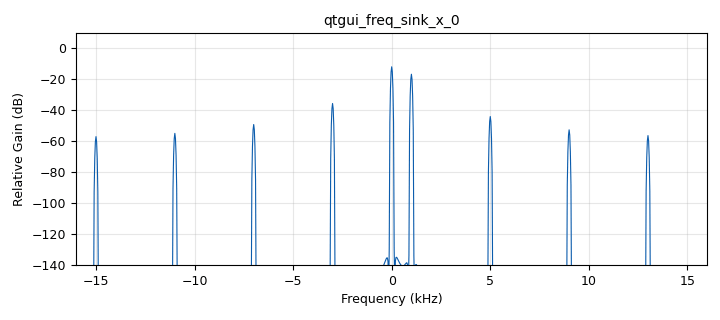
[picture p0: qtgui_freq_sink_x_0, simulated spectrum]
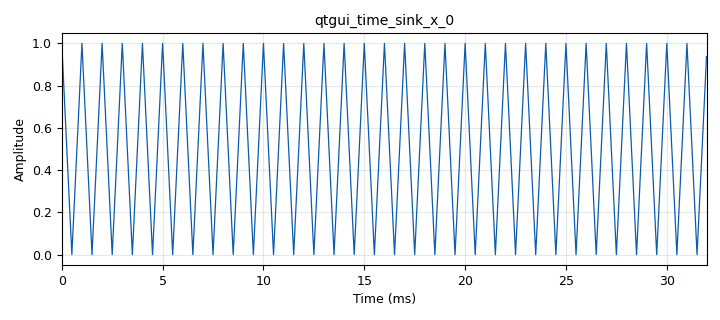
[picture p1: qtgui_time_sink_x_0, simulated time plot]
options:
  parameters:
    author: aruncs
    generate_options: qt_gui
    id: modulation_switching
    output_language: python
    title: Not titled yet
  states: {}

blocks:
- name: mod_type
  id: variable_qtgui_range
  parameters:
    start: '1'
    step: '1'
    stop: '4'
    value: '3'
  states: {}
- name: samp_rate
  id: variable
  parameters:
    value: '32000'
  states: {}
- name: analog_sig_source_x_0
  id: analog_sig_source_x
  parameters:
    amp: '1'
    freq: '1000'
    offset: '0'
    phase: '0'
    samp_rate: samp_rate
    type: complex
    waveform: analog.GR_COS_WAVE
  states: {}
- name: analog_sig_source_x_0_0
  id: analog_sig_source_x
  parameters:
    amp: '10'
    freq: '1000'
    offset: '0'
    phase: '0'
    samp_rate: samp_rate
    type: complex
    waveform: analog.GR_SQR_WAVE
  states: {}
- name: analog_sig_source_x_0_0_0
  id: analog_sig_source_x
  parameters:
    amp: '1'
    freq: '1000'
    offset: '0'
    phase: '0'
    samp_rate: samp_rate
    type: complex
    waveform: analog.GR_TRI_WAVE
  states: {}
- name: analog_sig_source_x_0_0_0_0
  id: analog_sig_source_x
  parameters:
    amp: '1'
    freq: '1000'
    offset: '0'
    phase: '0'
    samp_rate: samp_rate
    type: complex
    waveform: analog.GR_TRI_WAVE
  states: {}
- name: blocks_complex_to_real_0
  id: blocks_complex_to_real
  parameters: {}
  states: {}
- name: epy_block_0
  id: epy_block
  parameters:
    _source_code: |
      """
      Embedded Python Blocks:

      Each time this file is saved, GRC will instantiate the first class it finds
      to get ports and parameters of your block. The arguments to __init__  will
      be the parameters. All of them are required to have default values!
      """

      import numpy as np
      from gnuradio import gr


      class blk(gr.sync_block):  # other base classes are basic_block, decim_block, interp_block
          """Embedded Python Block example - a simple multiply const"""

          def __init__(self,modulation_param=1.0):  # only default arguments here
              """arguments to this function show up as parameters in GRC"""
              gr.sync_block.__init__(
                  self,
                  name='Mudulation Selector',   # will show up in GRC
                  in_sig=[np.complex64,np.complex64,np.complex64,np.complex64],
                  out_sig=[np.complex64]
              )
              
              # if an attribute with the same name as a parameter is found,
              # a callback is registered (properties work, too).

              self.modulation_param = modulation_param 

          def work(self, input_items,output_items):
              """example: multiply with constant"""
              output_items[0][:] = input_items[self.modulation_param-1][:]
              
              return len(output_items[0])
    modulation_param: mod_type
  states: {}
- name: qtgui_freq_sink_x_0
  id: qtgui_freq_sink_x
  parameters:
    bw: samp_rate
    fc: '0'
    fftsize: '1024'
    type: complex
  states: {}
- name: qtgui_time_sink_x_0
  id: qtgui_time_sink_x
  parameters:
    autoscale: 'True'
    size: '1024'
    srate: samp_rate
    type: float
  states: {}

connections:
- [analog_sig_source_x_0, '0', epy_block_0, '0']
- [analog_sig_source_x_0_0, '0', epy_block_0, '1']
- [analog_sig_source_x_0_0_0, '0', epy_block_0, '2']
- [analog_sig_source_x_0_0_0_0, '0', epy_block_0, '3']
- [blocks_complex_to_real_0, '0', qtgui_time_sink_x_0, '0']
- [epy_block_0, '0', blocks_complex_to_real_0, '0']
- [epy_block_0, '0', qtgui_freq_sink_x_0, '0']

metadata:
  file_format: 1
  grc_version: 3.10.11.0
